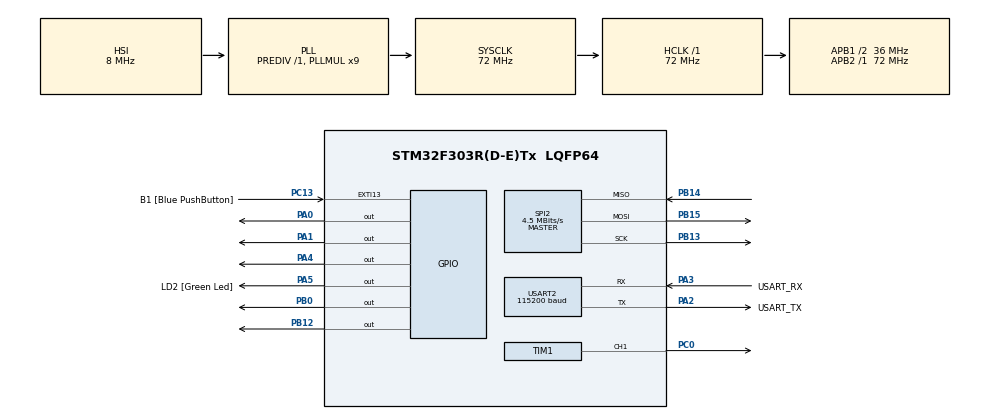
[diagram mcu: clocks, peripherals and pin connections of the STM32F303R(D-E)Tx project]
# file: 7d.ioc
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Mcu.Family=STM32F3
Mcu.Name=STM32F303R(D-E)Tx
Mcu.Package=LQFP64
NVIC.PriorityGroup=NVIC_PRIORITYGROUP_0
PA0.Signal=GPIO_Output
PA1.PinState=GPIO_PIN_SET
PA1.Signal=GPIO_Output
PA13.GPIO_Label=TMS
PA13.Signal=SYS_JTMS-SWDIO
PA14.GPIO_Label=TCK
PA14.Signal=SYS_JTCK-SWCLK
PA2.GPIO_Label=USART_TX
PA2.GPIO_Mode=GPIO_MODE_AF_PP
PA2.GPIO_PuPd=GPIO_NOPULL
PA2.GPIO_Speed=GPIO_SPEED_FREQ_LOW
PA2.Mode=Asynchronous
PA2.Signal=USART2_TX
PA3.GPIO_Label=USART_RX
PA3.GPIO_Mode=GPIO_MODE_AF_PP
PA3.GPIO_PuPd=GPIO_NOPULL
PA3.GPIO_Speed=GPIO_SPEED_FREQ_LOW
PA3.Mode=Asynchronous
PA3.Signal=USART2_RX
PA4.GPIO_PuPd=GPIO_PULLUP
PA4.PinState=GPIO_PIN_SET
PA4.Signal=GPIO_Output
PA5.GPIO_Label=LD2 [Green Led]
PA5.GPIO_Mode=GPIO_MODE_OUTPUT_PP
PA5.GPIO_PuPd=GPIO_NOPULL
PA5.GPIO_Speed=GPIO_SPEED_FREQ_LOW
PA5.Signal=GPIO_Output
PB0.PinState=GPIO_PIN_SET
PB0.Signal=GPIO_Output
PB12.Signal=GPIO_Output
PB13.Mode=Full_Duplex_Master
PB13.Signal=SPI2_SCK
PB14.Mode=Full_Duplex_Master
PB14.Signal=SPI2_MISO
PB15.Mode=Full_Duplex_Master
PB15.Signal=SPI2_MOSI
PB3.GPIO_Label=SWO
PB3.Signal=SYS_JTDO-TRACESWO
PC0.Signal=S_TIM1_CH1
PC13.GPIO_Label=B1 [Blue PushButton]
PC13.GPIO_ModeDefaultEXTI=GPIO_MODE_IT_FALLING
PC13.Signal=GPXTI13
PC14-OSC32_IN.Signal=RCC_OSC32_IN
PC15-OSC32_OUT.Signal=RCC_OSC32_OUT
PF0-OSC_IN.Signal=RCC_OSC_IN
PF1-OSC_OUT.Signal=RCC_OSC_OUT
ProjectManager.HeapSize=0x200
ProjectManager.StackSize=0x400
ProjectManager.TargetToolchain=TrueSTUDIO
RCC.AHBFreq_Value=72000000
RCC.APB1CLKDivider=RCC_HCLK_DIV2
RCC.APB1Freq_Value=36000000
RCC.APB1TimFreq_Value=72000000
RCC.APB2Freq_Value=72000000
RCC.APB2TimFreq_Value=72000000
RCC.CortexFreq_Value=72000000
RCC.HCLKFreq_Value=72000000
RCC.HSE_VALUE=8000000
RCC.HSI_VALUE=8000000
RCC.LSE_VALUE=32768
RCC.PLLM=8
RCC.PLLMUL=RCC_PLL_MUL9
RCC.PLLN=336
RCC.PLLP=RCC_PLLP_DIV4
RCC.PLLQ=7
RCC.RCC_PLLsource_Clock_Source_FROM_HSE=RCC_HSE_PREDIV_DIV2
RCC.SYSCLKFreq_VALUE=72000000
RCC.SYSCLKSourceVirtual=RCC_SYSCLKSOURCE_PLLCLK
RCC.USBFreq_Value=72000000
SH.S_TIM1_CH1.0=TIM1_CH1,PWM Generation1 CH1
SPI2.BaudRatePrescaler=SPI_BAUDRATEPRESCALER_8
SPI2.CLKPhase=SPI_PHASE_2EDGE
SPI2.CLKPolarity=SPI_POLARITY_HIGH
SPI2.CalculateBaudRate=4.5 MBits/s
SPI2.DataSize=SPI_DATASIZE_8BIT
SPI2.Direction=SPI_DIRECTION_2LINES
SPI2.Mode=SPI_MODE_MASTER
SPI2.VirtualType=VM_MASTER
TIM1.Channel-PWM\ Generation1\ CH1=TIM_CHANNEL_1
USART2.BaudRate=115200
USART2.VirtualMode-Asynchronous=VM_ASYNC
USART2.WordLength=WORDLENGTH_8B
board=NUCLEO-F303RE

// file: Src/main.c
/**
  ******************************************************************************
  * @file           : main.c
  * @brief          : Main program body
  ******************************************************************************
  ** This notice applies to any and all portions of this file
  * that are not between comment pairs USER CODE BEGIN and
  * USER CODE END. Other portions of this file, whether
  * inserted by the user or by software development tools
  * are owned by their respective copyright owners.
  *
  * COPYRIGHT(c) 2026 STMicroelectronics
  *
  * Redistribution and use in source and binary forms, with or without modification,
  * are permitted provided that the following conditions are met:
  *   1. Redistributions of source code must retain the above copyright notice,
  *      this list of conditions and the following disclaimer.
  *   2. Redistributions in binary form must reproduce the above copyright notice,
  *      this list of conditions and the following disclaimer in the documentation
  *      and/or other materials provided with the distribution.
  *   3. Neither the name of STMicroelectronics nor the names of its contributors
  *      may be used to endorse or promote products derived from this software
  *      without specific prior written permission.
  *
  * THIS SOFTWARE IS PROVIDED BY THE COPYRIGHT HOLDERS AND CONTRIBUTORS "AS IS"
  * AND ANY EXPRESS OR IMPLIED WARRANTIES, INCLUDING, BUT NOT LIMITED TO, THE
  * IMPLIED WARRANTIES OF MERCHANTABILITY AND FITNESS FOR A PARTICULAR PURPOSE ARE
  * DISCLAIMED. IN NO EVENT SHALL THE COPYRIGHT HOLDER OR CONTRIBUTORS BE LIABLE
  * FOR ANY DIRECT, INDIRECT, INCIDENTAL, SPECIAL, EXEMPLARY, OR CONSEQUENTIAL
  * DAMAGES (INCLUDING, BUT NOT LIMITED TO, PROCUREMENT OF SUBSTITUTE GOODS OR
  * SERVICES; LOSS OF USE, DATA, OR PROFITS; OR BUSINESS INTERRUPTION) HOWEVER
  * CAUSED AND ON ANY THEORY OF LIABILITY, WHETHER IN CONTRACT, STRICT LIABILITY,
  * OR TORT (INCLUDING NEGLIGENCE OR OTHERWISE) ARISING IN ANY WAY OUT OF THE USE
  * OF THIS SOFTWARE, EVEN IF ADVISED OF THE POSSIBILITY OF SUCH DAMAGE.
  *
  ******************************************************************************
  */
#include "main.h"
#include "stm32f3xx_hal.h"

/* USER CODE BEGIN Includes */
#include <stdio.h>
#include <string.h>
/* USER CODE END Includes */

SPI_HandleTypeDef hspi2;

TIM_HandleTypeDef htim1;

UART_HandleTypeDef huart2;

/* USER CODE BEGIN PV */
/* Private variables ---------------------------------------------------------*/
#define ADXL345_CS_PORT GPIOB
#define ADXL345_CS_PIN  GPIO_PIN_12
#define ADXL345_CS_LOW()  HAL_GPIO_WritePin(ADXL345_CS_PORT, ADXL345_CS_PIN, GPIO_PIN_RESET)
#define ADXL345_CS_HIGH() HAL_GPIO_WritePin(ADXL345_CS_PORT, ADXL345_CS_PIN, GPIO_PIN_SET)

#define TIM_CLK_LOW() HAL_GPIO_WritePin(TM_CLK_GPIO_Port, TM_CLK_Pin, GPIO_PIN_RESET);
#define TIM_CLK_HIGH() HAL_GPIO_WritePin(TM_CLK_GPIO_Port, TM_CLK_Pin, GPIO_PIN_SET);

#define TIM_DIO_LOW() HAL_GPIO_WritePin(TM_DIO_GPIO_Port, TM_DIO_Pin, GPIO_PIN_RESET);
#define TIM_DIO_HIGH() HAL_GPIO_WritePin(TM_DIO_GPIO_Port, TM_DIO_Pin, GPIO_PIN_RESET);

#define DELAY 50

/* TM1637 */
#define TM_GND_GPIO_Port  GPIOA
#define TM_GND_Pin        GPIO_PIN_0
#define TM_VCC_GPIO_Port  GPIOA
#define TM_VCC_Pin        GPIO_PIN_1

#define TM_DIO_GPIO_Port  GPIOA
#define TM_DIO_Pin        GPIO_PIN_4
#define TM_CLK_GPIO_Port  GPIOB
#define TM_CLK_Pin        GPIO_PIN_0
/* USER CODE END PV */

void SystemClock_Config(void);
static void MX_GPIO_Init(void);
static void MX_SPI2_Init(void);
static void MX_TIM1_Init(void);
static void MX_USART2_UART_Init(void);

void HAL_TIM_MspPostInit(TIM_HandleTypeDef *htim);

/* USER CODE BEGIN PFP */
/* Private function prototypes -----------------------------------------------*/

/* USER CODE END PFP */

/* USER CODE BEGIN 0 */

// === Senor == //
void Debug_SprintfExample(int16_t x, int16_t y, int16_t z) {
    char buf[50];
    sprintf(buf, "[DATA] raw X=%6d Y=%6d Z=%6d\r\n", x, y, z);
    HAL_UART_Transmit(&huart2, (uint8_t *)buf, strlen(buf),  DELAY);

}
void ADXL345_WriteReg(uint8_t reg, uint8_t data) {
    uint8_t tx_buf[2];
    tx_buf[0] = reg & 0x3F; /* 確保 bit7(Read) 為 0, bit6(MB) 為 0 */
    tx_buf[1] = data;

    ADXL345_CS_LOW();
    HAL_SPI_Transmit(&hspi2, tx_buf, 2, DELAY);
    ADXL345_CS_HIGH();
}
uint8_t ADXL345_ReadReg(uint8_t reg) {
    uint8_t tx_buf[2];
    uint8_t rx_buf[2] = {0};

    tx_buf[0] = reg | 0x80; /* 設定 bit7 為 1 (Read 模式) */
    tx_buf[1] = 0x00;       /* Dummy byte，用來產生接收資料的時鐘 */
 	ADXL345_CS_LOW();
 	HAL_SPI_TransmitReceive(&hspi2, tx_buf, rx_buf, 2, 50);
    ADXL345_CS_HIGH();
    return rx_buf[1]; /* 陣列索引 1 為感測器回傳的資料，0是dummy 等待時的垃圾值 */

}
void ADXL345_ReadMulti(uint8_t reg, uint8_t *buf, uint8_t len) {
    uint8_t tx_buf[len + 1];
    uint8_t rx_buf[len + 1];

    memset(tx_buf, 0x00, sizeof(tx_buf));
    memset(rx_buf, 0x00, sizeof(rx_buf));

    tx_buf[0] = reg | 0xC0;

    ADXL345_CS_LOW();
    HAL_SPI_TransmitReceive(&hspi2, tx_buf, rx_buf, len + 1, DELAY);
    ADXL345_CS_HIGH();

    memcpy(buf, &rx_buf[1], len);  /* index 0 捨棄 */
}
void ADXL345_ReadXYZ(int16_t *x, int16_t *y, int16_t *z) {
    uint8_t raw[6];
    // 從 0x32 讀 6 bytes（DATAX0~DATAZ1）
    ADXL345_ReadMulti(0x32, raw, 6);

    *x = (int16_t)((raw[1] << 8) | raw[0]);
    *y = (int16_t)((raw[3] << 8) | raw[2]);
    *z = (int16_t)((raw[5] << 8) | raw[4]);
}
void Test_ADXL345_ID(void) {
    char buf[60] = {0};
    uint8_t id = 0;

    /* 確保 CS 初始為 High */
    ADXL345_CS_HIGH();
    HAL_Delay(10);

    /* 連續讀取 5 次 Device ID (0x00) 驗證穩定性 */
    for (uint8_t i = 1; i <= 5; i++) {
        id = ADXL345_ReadReg(0x00);
        sprintf(buf, "[DEBUG] 4-Wire ADXL345 ID %d/5: 0x%02X\r\n", i, id);
        HAL_UART_Transmit(&huart2, (uint8_t *)buf, strlen(buf), 100);
        HAL_Delay(100);
    }

    /* 判斷最後一次讀取結果決定是否初始化 */
    if (id == 0xE5) {
        sprintf(buf, "[INFO] ID Correct. Initializing...\r\n");
        HAL_UART_Transmit(&huart2, (uint8_t *)buf, strlen(buf), 100);

        /* DATA_FORMAT: 4-wire SPI (預設), */
        ADXL345_WriteReg(0x31, 0x0B);
        /* BW_RATE: 100Hz */
        ADXL345_WriteReg(0x2C, 0x0A);
        /* POWER_CTL: Measure mode */
        ADXL345_WriteReg(0x2D, 0x08);

        sprintf(buf, "[INFO] ADXL345 Init Done.\r\n");
        HAL_UART_Transmit(&huart2, (uint8_t *)buf, strlen(buf), 100);
    } else {
        sprintf(buf, "[FATAL] ID Error. Init Aborted.\r\n");
        HAL_UART_Transmit(&huart2, (uint8_t *)buf, strlen(buf), 100);
    }
}
void Debug_PrintXYZ(int16_t x, int16_t y, int16_t z) {
    char buf[100] = {0};

    /* 原始值輸出 */
    sprintf(buf, "[RAW]  X=%6d  Y=%6d  Z=%6d\r\n", x, y, z);
    HAL_UART_Transmit(&huart2, (uint8_t *)buf, strlen(buf), DELAY);

//    /* 3.9mg/LSB */
//    int32_t gx_01mg = (int32_t)x * 39;
//    int32_t gy_01mg = (int32_t)y * 39;
//    int32_t gz_01mg = (int32_t)z * 39;
//
//    char sx = (gx_01mg < 0) ? '-' : '+';
//    char sy = (gy_01mg < 0) ? '-' : '+';
//    char sz = (gz_01mg < 0) ? '-' : '+';
//
//    uint32_t ax = (gx_01mg < 0) ? -gx_01mg : gx_01mg;
//    uint32_t ay = (gy_01mg < 0) ? -gy_01mg : gy_01mg;
//    uint32_t az = (gz_01mg < 0) ? -gz_01mg : gz_01mg;

    int32_t gx_val = ((int32_t)x * 39) / 100;
    int32_t gy_val = ((int32_t)y * 39) / 100;
    int32_t gz_val = ((int32_t)z * 39) / 100;

    /* 2. 判斷正負號 */
    char sx2 = (gx_val < 0) ? '-' : '+';
    char sy2 = (gy_val < 0) ? '-' : '+';
    char sz2 = (gz_val < 0) ? '-' : '+';

    /* 3. 取絕對值，轉為無號數 */
    uint32_t ax2 = (gx_val < 0) ? -gx_val : gx_val;
    uint32_t ay2 = (gy_val < 0) ? -gy_val : gy_val;
    uint32_t az2 = (gz_val < 0) ? -gz_val : gz_val;

    /* ax / 10 取出 mg 整數部分，ax % 10 取出小數點後第一位 */
//    sprintf(buf, "[G]    X=%c%lu.%lu mg  Y=%c%lu.%lu mg  Z=%c%lu.%lu mg\r\n",
//            sx, ax / 10, ax % 10,
//            sy, ay / 10, ay % 10,
//            sz, az / 10, az % 10);
//    HAL_UART_Transmit(&huart2, (uint8_t *)buf, strlen(buf), DELAY);
    sprintf(buf, "[G]    X=%c%lu.%02lu g  Y=%c%lu.%02lu g  Z=%c%lu.%02lu g\r\n",
                sx2, ax2 / 100, ax2 % 100,
                sy2, ay2 / 100, ay2 % 100,
                sz2, az2 / 100, az2 % 100);
    HAL_UART_Transmit(&huart2, (uint8_t *)buf, strlen(buf), DELAY);

}
// =========== //

// ====Display === //
// 延時讓波形更穩定
//void TM1637_Delay(void) {
//	for(volatile int i=0; i<400; i++);
//}
//void TM1637_Start(void) {
//	TIM_CLK_HIGH();
//	TIM_DIO_HIGH();
//    TM1637_Delay();
//	TIM_DIO_LOW();
//}
//void TM1637_Stop(void) {
//	TIM_CLK_LOW()
//    TM1637_Delay();
//	TIM_DIO_LOW();
//    TM1637_Delay();
//
//	TIM_CLK_HIGH();
//    TM1637_Delay();
//    TIM_DIO_HIGH();
//}
//
//uint8_t TM1637_WriteByte(uint8_t byte) {
//	uint8_t ack = 0;
//    for (uint8_t i = 0; i < 8; i++) {
//    	TIM_CLK_LOW();
//        TM1637_Delay();
//
//        /* LSB First 寫入 */
//        if (byte & (1 << i)) {
//        	TIM_DIO_HIGH();
//        } else {
//        	TIM_DIO_LOW();
//        }
//
//        TM1637_Delay();
//        TIM_CLK_HIGH();
//        TM1637_Delay();
//    }
//
//    /* 產生第 9 個 Clock 並釋放 DIO 等待 ACK */
//    TIM_CLK_LOW();
//    TIM_DIO_HIGH();
//    TM1637_Delay();
//    TIM_CLK_HIGH();
//    TM1637_Delay();
//
//    /* 讀取 DIO 狀態：如果被 TM1637 拉低，代表有 ACK */
//    if (HAL_GPIO_ReadPin(TM_DIO_GPIO_Port, TM_DIO_Pin) == GPIO_PIN_RESET) {
//        ack = 1; // 成功收到 ACK
//    	char msg[] = "ack success";
//    	HAL_UART_Transmit(&huart2, (uint8_t *)msg, strlen(msg), 100);
//    } else {
//        ack = 0; // 失敗，沒有 ACK
//        char msg[] = "ack failed";
//        HAL_UART_Transmit(&huart2, (uint8_t *)msg, strlen(msg), 100);
//    }
//
//    HAL_GPIO_WritePin(TM_CLK_GPIO_Port, TM_CLK_Pin, GPIO_PIN_RESET); // 完成第 9 個 Clock
//    TM1637_Delay();
//
//    return ack;
//}
//void TM1637_DisplayInt_Debug(int value) {
//    const uint8_t digitMap[] = {0x3F,0x06,0x5B,0x4F,0x66,0x6D,0x7D,0x07,0x7F,0x6F};
//    uint8_t data[4] = {0, 0, 0, 0};
//    uint8_t ack_cmd1 = 0, ack_cmd2 = 0, ack_cmd3 = 0;
//    char dbg_buf[120];
//
//    /* 數值硬體極限保護 */
//    if (value > 9999) value = 9999;
//    if (value < -999) value = -999;
//
//    int temp = (value < 0) ? -value : value;
//
//    /* 轉換數字 */
//    for(int i = 3; i >= 0; i--) {
//        data[i] = digitMap[temp % 10];
//        temp /= 10;
//        if(temp == 0) {
//        	char msg[] = "break in transfer\r\n";
//        	HAL_UART_Transmit(&huart2, (uint8_t *)msg, strlen(msg), 100);
//        	break;
//        }
//    }
//
//    /* 動態負號處理 */
//    if (value < 0) {
//        for(int i = 2; i >= 0; i--) {
//            if (data[i] == 0) {
//                data[i] = 0x40; // 0x40 為中間橫線 '-'
//                char msg[] = "break in dynamic transfer\r\n";
//                HAL_UART_Transmit(&huart2, (uint8_t *)msg, strlen(msg), 100);
//
//                break;
//            }
//        }
//    }
//
//    /* 發送資料 */
//    TM1637_Start();
//    ack_cmd1 = TM1637_WriteByte(0x40);
//    TM1637_WriteByte(0x40); // 自動地址加一
//    TM1637_Stop();
//
//    TM1637_Start();
//    TM1637_WriteByte(0xC0); // 起始地址 0x00
//    for(int i = 0; i < 4; i++) {
//        TM1637_WriteByte(data[i]);
//    }
//    TM1637_Stop();
//
//    TM1637_Start();
//    TM1637_WriteByte(0x88); // 開啟顯示，亮度設為最低以保護 GPIO
//    TM1637_Stop();
//
//    sprintf(dbg_buf, "[TM] Val:%5d | Codes: %02X %02X %02X %02X | ACK(1=OK): %d,%d,%d\r\n",
//                value, data[0], data[1], data[2], data[3], ack_cmd1, ack_cmd2, ack_cmd3);
//    HAL_UART_Transmit(&huart2, (uint8_t *)dbg_buf, strlen(dbg_buf), 100);
//}
//
//void Debug_CheckPowerPins(void) {
//    char buf[100];
//
//    // 讀取 PA0 和 PA1 的輸出狀態 (ODR 暫存器)
//    GPIO_PinState state_PA0 = HAL_GPIO_ReadPin(GPIOA, GPIO_PIN_0);
//    GPIO_PinState state_PA1 = HAL_GPIO_ReadPin(GPIOA, GPIO_PIN_1);
//    GPIO_PinState state_PA4 = HAL_GPIO_ReadPin(GPIOA, GPIO_PIN_4);
//
//    // 轉換為容易閱讀的文字
//    const char* str_PA0 = (state_PA0 == GPIO_PIN_SET) ? "HIGH (3.3V)" : "LOW (0V)";
//    const char* str_PA1 = (state_PA1 == GPIO_PIN_SET) ? "HIGH (3.3V)" : "LOW (0V)";
//    const char* str_PA4 = (state_PA4 == GPIO_PIN_SET) ? "[DIO] HIGH (3.3V)" : "[DIO] LOW (0V)";
//
//    sprintf(buf, "[DEBUG] PA0(GND) state: %s | PA1(VCC) state: %s | PA4(DIO) state: %s \r\n", str_PA0, str_PA1,str_PA4);
//    HAL_UART_Transmit(&huart2, (uint8_t *)buf, strlen(buf), 100);
//}

void TM1637_Delay(void) {
    /* 增加延遲常數，避免高系統頻率導致時序過短 */
    for(volatile int i=0; i<400; i++);
}

void TM1637_Start(void) {
    HAL_GPIO_WritePin(TM_CLK_GPIO_Port, TM_CLK_Pin, GPIO_PIN_SET);
    HAL_GPIO_WritePin(TM_DIO_GPIO_Port, TM_DIO_Pin, GPIO_PIN_SET);
    TM1637_Delay();
    HAL_GPIO_WritePin(TM_DIO_GPIO_Port, TM_DIO_Pin, GPIO_PIN_RESET);
}

void TM1637_Stop(void) {
    HAL_GPIO_WritePin(TM_CLK_GPIO_Port, TM_CLK_Pin, GPIO_PIN_RESET);
    TM1637_Delay();
    HAL_GPIO_WritePin(TM_DIO_GPIO_Port, TM_DIO_Pin, GPIO_PIN_RESET);
    TM1637_Delay();
    HAL_GPIO_WritePin(TM_CLK_GPIO_Port, TM_CLK_Pin, GPIO_PIN_SET);
    TM1637_Delay();
    HAL_GPIO_WritePin(TM_DIO_GPIO_Port, TM_DIO_Pin, GPIO_PIN_SET);
}

void TM1637_WriteByte(uint8_t byte) {
    for (uint8_t i = 0; i < 8; i++) {
        HAL_GPIO_WritePin(TM_CLK_GPIO_Port, TM_CLK_Pin, GPIO_PIN_RESET);
        TM1637_Delay();

        /* LSB First 寫入 */
        if (byte & (1 << i)) {
            HAL_GPIO_WritePin(TM_DIO_GPIO_Port, TM_DIO_Pin, GPIO_PIN_SET);
        } else {
            HAL_GPIO_WritePin(TM_DIO_GPIO_Port, TM_DIO_Pin, GPIO_PIN_RESET);
        }

        TM1637_Delay();
        HAL_GPIO_WritePin(TM_CLK_GPIO_Port, TM_CLK_Pin, GPIO_PIN_SET);
        TM1637_Delay();
    }

    /* 產生第 9 個 Clock 並釋放 DIO 等待 ACK */
    HAL_GPIO_WritePin(TM_CLK_GPIO_Port, TM_CLK_Pin, GPIO_PIN_RESET);
    HAL_GPIO_WritePin(TM_DIO_GPIO_Port, TM_DIO_Pin, GPIO_PIN_SET);
    TM1637_Delay();
    HAL_GPIO_WritePin(TM_CLK_GPIO_Port, TM_CLK_Pin, GPIO_PIN_SET);
    TM1637_Delay();
}

void TM1637_DisplayInt(int value) {
    const uint8_t digitMap[] = {0x3F,0x06,0x5B,0x4F,0x66,0x6D,0x7D,0x07,0x7F,0x6F};
    uint8_t data[4] = {0, 0, 0, 0};

    /* 數值硬體極限保護 */
    if (value > 9999) value = 9999;
    if (value < -999) value = -999;

    int temp = (value < 0) ? -value : value;

    /* 轉換數字 */
    for(int i = 3; i >= 0; i--) {
        data[i] = digitMap[temp % 10];
        temp /= 10;
        if(temp == 0) break;
    }

    /* 動態負號處理 */
    if (value < 0) {
        for(int i = 2; i >= 0; i--) {
            if (data[i] == 0) {
                data[i] = 0x40; // 0x40 為中間橫線 '-'
                break;
            }
        }
    }

    /* 發送資料 */
    TM1637_Start();
    TM1637_WriteByte(0x40); // 自動地址加一
    TM1637_Stop();

    TM1637_Start();
    TM1637_WriteByte(0xC0); // 起始地址 0x00
    for(int i = 0; i < 4; i++) {
        TM1637_WriteByte(data[i]);
    }
    TM1637_Stop();

    TM1637_Start();
    TM1637_WriteByte(0x88); // 開啟顯示，亮度設為最低以保護 GPIO
    TM1637_Stop();
}

void TM1637_DisplayG(int16_t raw_accel) {
    const uint8_t digitMap[] = {0x3F,0x06,0x5B,0x4F,0x66,0x6D,0x7D,0x07,0x7F,0x6F};
    uint8_t data[4] = {0, 0, 0, 0};

    /* 1 LSB = 3.9 mg。計算 g * 100 的整數值，用以表示小數點後兩位 */
    int32_t val = ((int32_t)raw_accel * 39) / 100;

    /* 極限保護：四位數顯示器最多顯示到 99.99 或 -9.99，此處限制為常見的 +-16g 範圍 */
    if (val > 1600) val = 1600;
    if (val < -999) val = -999;

    int temp = (val < 0) ? -val : val;

    /* 固定填入小數點後兩位與個位數 */
    data[3] = digitMap[temp % 10];         // 小數點後第 2 位
    temp /= 10;
    data[2] = digitMap[temp % 10];         // 小數點後第 1 位
    temp /= 10;
    data[1] = digitMap[temp % 10] | 0x80;  // 個位數，並加上小數點 (0x80)

    /* 處理符號或十位數 */
    if (val < 0) {
        data[0] = 0x40; // 顯示負號 '-'
    } else {
        temp /= 10;
        if (temp > 0) {
            data[0] = digitMap[temp % 10]; // 若數值大於等於 10g，顯示十位數
        } else {
            data[0] = 0x00; // 否則最高位全滅 (空白)
        }
    }

    /* 發送資料 */
    TM1637_Start();
    TM1637_WriteByte(0x40); // 自動地址加一
    TM1637_Stop();

    TM1637_Start();
    TM1637_WriteByte(0xC0); // 起始地址 0x00
    for(int i = 0; i < 4; i++) {
        TM1637_WriteByte(data[i]);
    }
    TM1637_Stop();

    TM1637_Start();
    TM1637_WriteByte(0x88); // 開啟顯示，亮度最低
    TM1637_Stop();
}
/* USER CODE END 0 */

int main(void)
{
  /* MCU Configuration----------------------------------------------------------*/
  /* Reset of all peripherals, Initializes the Flash interface and the Systick. */
  HAL_Init();
  /* Configure the system clock */
  SystemClock_Config();
  /* Initialize all configured peripherals */
  MX_GPIO_Init();
  MX_SPI2_Init();
  MX_TIM1_Init();
  MX_USART2_UART_Init();
  /* USER CODE BEGIN 2 */
  HAL_GPIO_WritePin(TM_GND_GPIO_Port, TM_GND_Pin, GPIO_PIN_RESET);
  HAL_GPIO_WritePin(TM_VCC_GPIO_Port, TM_VCC_Pin, GPIO_PIN_SET);
  HAL_Delay(50); // 等待供電穩定

  /* 初始化 ADXL345 */
  Test_ADXL345_ID();

  // Debug_CheckPowerPins();

//  int axisMode = 0; // 0: 顯示X, 1: 顯示Y, 2: 顯示Z
//  uint8_t lastBtnState = GPIO_PIN_SET; // 假設按鍵接 PC13，預設被 Pull-up
  int16_t ax, ay, az;

  int axisMode = 0; // 0: 顯示X, 1: 顯示Y, 2: 顯示Z
  uint8_t lastBtnState = GPIO_PIN_SET; // 假設按鍵接 PC13，預設被 Pull-up
  //uint32_t count = 0;
  // Test_ADXL345_ID();
  /* USER CODE END 2 */
  /* Infinite loop */
  while (1)
  {
  /* USER CODE BEGIN 3 */
//	  uint8_t currentBtnState = HAL_GPIO_ReadPin(GPIOC, GPIO_PIN_13);
//	  if (lastBtnState == GPIO_PIN_SET && currentBtnState == GPIO_PIN_RESET) {
//	     axisMode++;
//	     if (axisMode > 2) {
//	        axisMode = 0;
//	     }
//	        HAL_Delay(50); // 簡易去彈跳
//	     }
//	     lastBtnState = currentBtnState;

//	  ADXL345_ReadXYZ(&ax, &ay, &az);
//	  Debug_PrintXYZ(ax, ay, az);
//	  if (axisMode == 0) {
//	      TM1637_DisplayInt_Debug(ax);
//	  } else if (axisMode == 1) {
//	      TM1637_DisplayInt_Debug(ay);
//	  } else if (axisMode == 2) {
//	      TM1637_DisplayInt_Debug(az);
//	 }
// 	  HAL_Delay(100);
	  uint8_t currentBtnState = HAL_GPIO_ReadPin(GPIOC, GPIO_PIN_13);
	          if (lastBtnState == GPIO_PIN_SET && currentBtnState == GPIO_PIN_RESET) {
	              axisMode++;
	              if (axisMode > 2) {
	                  axisMode = 0;
	              }
	              HAL_Delay(50); // 簡易去彈跳
	          }
	          lastBtnState = currentBtnState;

	          /* 讀取感測器資料 */
	          ADXL345_ReadXYZ(&ax, &ay, &az);

	          /* UART 輸出除錯資訊 */
	          Debug_PrintXYZ(ax, ay, az);

	          /* 依據 axisMode 顯示對應軸向的raw 數值到 TM1637 */
//			  if (axisMode == 0) {
//			     TM1637_DisplayInt_Debug(ax);
//			  } else if (axisMode == 1) {
//			     TM1637_DisplayInt_Debug(ay);
//			  } else if (axisMode == 2) {
//			     TM1637_DisplayInt_Debug(az);
//			  }

	          /* 依據 axisMode 顯示對應軸向的數值到 TM1637 */
	         if (axisMode == 0) {
	            TM1637_DisplayG(ax);
	         } else if (axisMode == 1) {
	            TM1637_DisplayG(ay);
	         } else if (axisMode == 2) {
	            TM1637_DisplayG(az);
	         }
	          HAL_Delay(100);
  /* USER CODE END 3 */
}
}
void SystemClock_Config(void)
{

  RCC_OscInitTypeDef RCC_OscInitStruct;
  RCC_ClkInitTypeDef RCC_ClkInitStruct;
  RCC_PeriphCLKInitTypeDef PeriphClkInit;

    /**Initializes the CPU, AHB and APB busses clocks
    */
  RCC_OscInitStruct.OscillatorType = RCC_OSCILLATORTYPE_HSI;
  RCC_OscInitStruct.HSIState = RCC_HSI_ON;
  RCC_OscInitStruct.HSICalibrationValue = 16;
  RCC_OscInitStruct.PLL.PLLState = RCC_PLL_ON;
  RCC_OscInitStruct.PLL.PLLSource = RCC_PLLSOURCE_HSI;
  RCC_OscInitStruct.PLL.PLLMUL = RCC_PLL_MUL9;
  RCC_OscInitStruct.PLL.PREDIV = RCC_PREDIV_DIV1;
  if (HAL_RCC_OscConfig(&RCC_OscInitStruct) != HAL_OK)
  {
    _Error_Handler(__FILE__, __LINE__);
  }

    /**Initializes the CPU, AHB and APB busses clocks
    */
  RCC_ClkInitStruct.ClockType = RCC_CLOCKTYPE_HCLK|RCC_CLOCKTYPE_SYSCLK
                              |RCC_CLOCKTYPE_PCLK1|RCC_CLOCKTYPE_PCLK2;
  RCC_ClkInitStruct.SYSCLKSource = RCC_SYSCLKSOURCE_PLLCLK;
  RCC_ClkInitStruct.AHBCLKDivider = RCC_SYSCLK_DIV1;
  RCC_ClkInitStruct.APB1CLKDivider = RCC_HCLK_DIV2;
  RCC_ClkInitStruct.APB2CLKDivider = RCC_HCLK_DIV1;

  if (HAL_RCC_ClockConfig(&RCC_ClkInitStruct, FLASH_LATENCY_2) != HAL_OK)
  {
    _Error_Handler(__FILE__, __LINE__);
  }

  PeriphClkInit.PeriphClockSelection = RCC_PERIPHCLK_USART2|RCC_PERIPHCLK_TIM1;
  PeriphClkInit.Usart2ClockSelection = RCC_USART2CLKSOURCE_PCLK1;
  PeriphClkInit.Tim1ClockSelection = RCC_TIM1CLK_HCLK;
  if (HAL_RCCEx_PeriphCLKConfig(&PeriphClkInit) != HAL_OK)
  {
    _Error_Handler(__FILE__, __LINE__);
  }

    /**Configure the Systick interrupt time
    */
  HAL_SYSTICK_Config(HAL_RCC_GetHCLKFreq()/1000);

    /**Configure the Systick
    */
  HAL_SYSTICK_CLKSourceConfig(SYSTICK_CLKSOURCE_HCLK);

  /* SysTick_IRQn interrupt configuration */
  HAL_NVIC_SetPriority(SysTick_IRQn, 0, 0);
}

/* SPI2 init function */
static void MX_SPI2_Init(void)
{

  /* SPI2 parameter configuration*/
  hspi2.Instance = SPI2;
  hspi2.Init.Mode = SPI_MODE_MASTER;
  hspi2.Init.Direction = SPI_DIRECTION_2LINES;
  hspi2.Init.DataSize = SPI_DATASIZE_8BIT;
  hspi2.Init.CLKPolarity = SPI_POLARITY_HIGH;
  hspi2.Init.CLKPhase = SPI_PHASE_2EDGE;
  hspi2.Init.NSS = SPI_NSS_SOFT;
  hspi2.Init.BaudRatePrescaler = SPI_BAUDRATEPRESCALER_8;
  hspi2.Init.FirstBit = SPI_FIRSTBIT_MSB;
  hspi2.Init.TIMode = SPI_TIMODE_DISABLE;
  hspi2.Init.CRCCalculation = SPI_CRCCALCULATION_DISABLE;
  hspi2.Init.CRCPolynomial = 7;
  hspi2.Init.CRCLength = SPI_CRC_LENGTH_DATASIZE;
  hspi2.Init.NSSPMode = SPI_NSS_PULSE_DISABLE;
  if (HAL_SPI_Init(&hspi2) != HAL_OK)
  {
    _Error_Handler(__FILE__, __LINE__);
  }

}

/* TIM1 init function */
static void MX_TIM1_Init(void)
{

  TIM_MasterConfigTypeDef sMasterConfig;
  TIM_OC_InitTypeDef sConfigOC;
  TIM_BreakDeadTimeConfigTypeDef sBreakDeadTimeConfig;

  htim1.Instance = TIM1;
  htim1.Init.Prescaler = 0;
  htim1.Init.CounterMode = TIM_COUNTERMODE_UP;
  htim1.Init.Period = 0;
  htim1.Init.ClockDivision = TIM_CLOCKDIVISION_DIV1;
  htim1.Init.RepetitionCounter = 0;
  htim1.Init.AutoReloadPreload = TIM_AUTORELOAD_PRELOAD_DISABLE;
  if (HAL_TIM_PWM_Init(&htim1) != HAL_OK)
  {
    _Error_Handler(__FILE__, __LINE__);
  }

  sMasterConfig.MasterOutputTrigger = TIM_TRGO_RESET;
  sMasterConfig.MasterOutputTrigger2 = TIM_TRGO2_RESET;
  sMasterConfig.MasterSlaveMode = TIM_MASTERSLAVEMODE_DISABLE;
  if (HAL_TIMEx_MasterConfigSynchronization(&htim1, &sMasterConfig) != HAL_OK)
  {
    _Error_Handler(__FILE__, __LINE__);
  }

  sConfigOC.OCMode = TIM_OCMODE_PWM1;
  sConfigOC.Pulse = 0;
  sConfigOC.OCPolarity = TIM_OCPOLARITY_HIGH;
  sConfigOC.OCNPolarity = TIM_OCNPOLARITY_HIGH;
  sConfigOC.OCFastMode = TIM_OCFAST_DISABLE;
  sConfigOC.OCIdleState = TIM_OCIDLESTATE_RESET;
  sConfigOC.OCNIdleState = TIM_OCNIDLESTATE_RESET;
  if (HAL_TIM_PWM_ConfigChannel(&htim1, &sConfigOC, TIM_CHANNEL_1) != HAL_OK)
  {
    _Error_Handler(__FILE__, __LINE__);
  }

  sBreakDeadTimeConfig.OffStateRunMode = TIM_OSSR_DISABLE;
  sBreakDeadTimeConfig.OffStateIDLEMode = TIM_OSSI_DISABLE;
  sBreakDeadTimeConfig.LockLevel = TIM_LOCKLEVEL_OFF;
  sBreakDeadTimeConfig.DeadTime = 0;
  sBreakDeadTimeConfig.BreakState = TIM_BREAK_DISABLE;
  sBreakDeadTimeConfig.BreakPolarity = TIM_BREAKPOLARITY_HIGH;
  sBreakDeadTimeConfig.BreakFilter = 0;
  sBreakDeadTimeConfig.Break2State = TIM_BREAK2_DISABLE;
  sBreakDeadTimeConfig.Break2Polarity = TIM_BREAK2POLARITY_HIGH;
  sBreakDeadTimeConfig.Break2Filter = 0;
  sBreakDeadTimeConfig.AutomaticOutput = TIM_AUTOMATICOUTPUT_DISABLE;
  if (HAL_TIMEx_ConfigBreakDeadTime(&htim1, &sBreakDeadTimeConfig) != HAL_OK)
  {
    _Error_Handler(__FILE__, __LINE__);
  }

  HAL_TIM_MspPostInit(&htim1);

}

/* USART2 init function */
static void MX_USART2_UART_Init(void)
{

  huart2.Instance = USART2;
  huart2.Init.BaudRate = 115200;
  huart2.Init.WordLength = UART_WORDLENGTH_8B;
  huart2.Init.StopBits = UART_STOPBITS_1;
  huart2.Init.Parity = UART_PARITY_NONE;
  huart2.Init.Mode = UART_MODE_TX_RX;
  huart2.Init.HwFlowCtl = UART_HWCONTROL_NONE;
  huart2.Init.OverSampling = UART_OVERSAMPLING_16;
  huart2.Init.OneBitSampling = UART_ONE_BIT_SAMPLE_DISABLE;
  huart2.AdvancedInit.AdvFeatureInit = UART_ADVFEATURE_NO_INIT;
  if (HAL_UART_Init(&huart2) != HAL_OK)
  {
    _Error_Handler(__FILE__, __LINE__);
  }

}

/** Configure pins as
        * Analog
        * Input
        * Output
        * EVENT_OUT
        * EXTI
*/
static void MX_GPIO_Init(void)
{

  GPIO_InitTypeDef GPIO_InitStruct;

  /* GPIO Ports Clock Enable */
  __HAL_RCC_GPIOC_CLK_ENABLE();
  __HAL_RCC_GPIOF_CLK_ENABLE();
  __HAL_RCC_GPIOA_CLK_ENABLE();
  __HAL_RCC_GPIOB_CLK_ENABLE();

  /*Configure GPIO pin Output Level */
  HAL_GPIO_WritePin(GPIOA, GPIO_PIN_0|LD2_Pin, GPIO_PIN_RESET);

  /*Configure GPIO pin Output Level */
  HAL_GPIO_WritePin(GPIOA, GPIO_PIN_1|GPIO_PIN_4, GPIO_PIN_SET);

  /*Configure GPIO pin Output Level */
  HAL_GPIO_WritePin(GPIOB, GPIO_PIN_0, GPIO_PIN_SET);

  /*Configure GPIO pin Output Level */
  HAL_GPIO_WritePin(GPIOB, GPIO_PIN_12, GPIO_PIN_RESET);

  /*Configure GPIO pin : B1_Pin */
  GPIO_InitStruct.Pin = B1_Pin;
  GPIO_InitStruct.Mode = GPIO_MODE_IT_FALLING;
  GPIO_InitStruct.Pull = GPIO_NOPULL;
  HAL_GPIO_Init(B1_GPIO_Port, &GPIO_InitStruct);

  /*Configure GPIO pins : PA0 PA1 LD2_Pin */
  GPIO_InitStruct.Pin = GPIO_PIN_0|GPIO_PIN_1|LD2_Pin;
  GPIO_InitStruct.Mode = GPIO_MODE_OUTPUT_PP;
  GPIO_InitStruct.Pull = GPIO_NOPULL;
  GPIO_InitStruct.Speed = GPIO_SPEED_FREQ_LOW;
  HAL_GPIO_Init(GPIOA, &GPIO_InitStruct);

  /*Configure GPIO pin : PA4 */
  GPIO_InitStruct.Pin = GPIO_PIN_4;
  GPIO_InitStruct.Mode = GPIO_MODE_OUTPUT_PP;
  GPIO_InitStruct.Pull = GPIO_PULLUP;
  GPIO_InitStruct.Speed = GPIO_SPEED_FREQ_LOW;
  HAL_GPIO_Init(GPIOA, &GPIO_InitStruct);

  /*Configure GPIO pins : PB0 PB12 */
  GPIO_InitStruct.Pin = GPIO_PIN_0|GPIO_PIN_12;
  GPIO_InitStruct.Mode = GPIO_MODE_OUTPUT_PP;
  GPIO_InitStruct.Pull = GPIO_NOPULL;
  GPIO_InitStruct.Speed = GPIO_SPEED_FREQ_LOW;
  HAL_GPIO_Init(GPIOB, &GPIO_InitStruct);

}

void _Error_Handler(char *file, int line)
{
  while(1)
  {
  }
}

/************************ (C) COPYRIGHT STMicroelectronics *****END OF FILE****/
